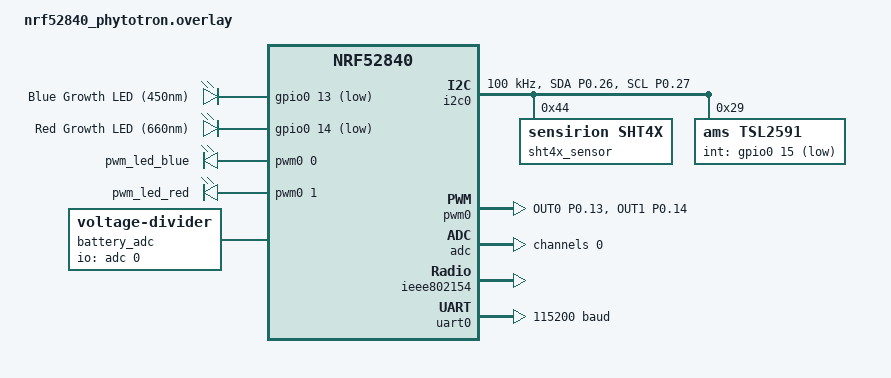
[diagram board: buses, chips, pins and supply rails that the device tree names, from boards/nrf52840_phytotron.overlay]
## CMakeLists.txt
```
# G.O.S. Phytotron Node - CMakeLists.txt
# Zephyr RTOS Build Configuration

cmake_minimum_required(VERSION 3.20.0)

find_package(Zephyr REQUIRED HINTS $ENV{ZEPHYR_BASE})
project(gos_phytotron_node VERSION 2.0.0)

# Source files
target_sources(app PRIVATE
    src/main.c
    drivers/led_control.c
)

# Include directories
target_include_directories(app PRIVATE
    ${CMAKE_CURRENT_SOURCE_DIR}/include
)
```

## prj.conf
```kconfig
# G.O.S. Phytotron Node - Zephyr Project Configuration
# Target: nRF52840 DK/Dongle with OpenThread

# --- CORE ---
CONFIG_MAIN_STACK_SIZE=4096
CONFIG_SYSTEM_WORKQUEUE_STACK_SIZE=2048
CONFIG_HEAP_MEM_POOL_SIZE=16384

# --- NETWORKING: OpenThread ---
CONFIG_NETWORKING=y
CONFIG_NET_L2_OPENTHREAD=y
CONFIG_OPENTHREAD_NORDIC_LIBRARY_MTD=y
CONFIG_OPENTHREAD_MTD=y
CONFIG_OPENTHREAD_FTD=n

# Thread Role: Sleepy End Device (Battery Optimized)
CONFIG_OPENTHREAD_MTD_SED=y
CONFIG_OPENTHREAD_POLL_PERIOD=1000

# Thread Network Configuration
CONFIG_OPENTHREAD_CHANNEL=15
CONFIG_OPENTHREAD_PANID=0x1234
CONFIG_OPENTHREAD_NETWORK_NAME="GOS_PHYTOTRON"
CONFIG_OPENTHREAD_XPANID="de:ad:00:be:ef:00:ca:fe"
CONFIG_OPENTHREAD_NETWORKKEY="00:11:22:33:44:55:66:77:88:99:aa:bb:cc:dd:ee:ff"

# CoAP for sensor data transmission
CONFIG_OPENTHREAD_COAP=y
CONFIG_COAP=y
CONFIG_COAP_CLIENT=y

# --- SENSORS: I2C ---
CONFIG_I2C=y
CONFIG_SENSOR=y
CONFIG_SHT4X=y
CONFIG_SHT4X_TRIGGER_NONE=y
CONFIG_TSL2591=y

# --- LED CONTROL: PWM ---
CONFIG_PWM=y
CONFIG_LED=y
CONFIG_LED_PWM=y

# --- POWER MANAGEMENT ---
CONFIG_PM=y
CONFIG_PM_DEVICE=y
CONFIG_PM_DEVICE_RUNTIME=y

# --- BATTERY MONITORING: ADC ---
CONFIG_ADC=y

# --- FLASH STORAGE (For mesh outage resilience) ---
CONFIG_FLASH=y
CONFIG_FLASH_PAGE_LAYOUT=y
CONFIG_NVS=y
CONFIG_SETTINGS=y
CONFIG_SETTINGS_NVS=y

# --- LOGGING ---
CONFIG_LOG=y
CONFIG_LOG_MODE_MINIMAL=y
CONFIG_OPENTHREAD_DEBUG=n

# --- SHELL (Disable for production to save power) ---
CONFIG_SHELL=n
CONFIG_UART_CONSOLE=y

# --- CRYPTO ---
CONFIG_MBEDTLS=y
CONFIG_MBEDTLS_BUILTIN=y

# --- DEBUG (Disable for production) ---
CONFIG_ASSERT=n
CONFIG_DEBUG_OPTIMIZATIONS=n
CONFIG_SIZE_OPTIMIZATIONS=y
```

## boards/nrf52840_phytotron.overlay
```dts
// ==============================================================
// G.O.S. DEVICE TREE OVERLAY - nRF52840 Phytotron Node
// ==============================================================
// Board: Nordic nRF52840 DK (PCA10056) or Dongle (PCA10059)
// Sensors: SHT4x (I2C), TSL2591 (I2C)
// LEDs: Blue (P0.13), Red (P0.14) via PWM
// ==============================================================

/ {
    chosen {
        zephyr,console = &uart0;
        zephyr,shell-uart = &uart0;
    };

    aliases {
        led0-blue = &led_blue;
        led1-red = &led_red;
        sht4x = &sht4x_sensor;
    };

    leds {
        compatible = "gpio-leds";
        
        led_blue: led_0 {
            gpios = <&gpio0 13 GPIO_ACTIVE_LOW>;
            label = "Blue Growth LED (450nm)";
        };
        
        led_red: led_1 {
            gpios = <&gpio0 14 GPIO_ACTIVE_LOW>;
            label = "Red Growth LED (660nm)";
        };
    };

    /* PWM for LED dimming control */
    pwmleds {
        compatible = "pwm-leds";
        
        pwm_led_blue: pwm_led_0 {
            pwms = <&pwm0 0 PWM_MSEC(20) PWM_POLARITY_INVERTED>;
        };
        
        pwm_led_red: pwm_led_1 {
            pwms = <&pwm0 1 PWM_MSEC(20) PWM_POLARITY_INVERTED>;
        };
    };

    /* Battery ADC monitoring (gated divider via Q4 P-MOSFET) */
    battery_adc {
        compatible = "voltage-divider";
        io-channels = <&adc 0>;
        output-ohms = <1000000>;         /* R_bottom = 1MΩ (was 100kΩ in v1) */
        full-ohms = <(1000000 + 1000000)>; /* R_top + R_bottom = 2MΩ */
    };
};

/* Enable I2C for sensors */
&i2c0 {
    status = "okay";
    compatible = "nordic,nrf-twim";
    pinctrl-0 = <&i2c0_default>;
    pinctrl-1 = <&i2c0_sleep>;
    pinctrl-names = "default", "sleep";
    clock-frequency = <I2C_BITRATE_STANDARD>;

    /* Sensirion SHT4x Temperature/Humidity Sensor */
    sht4x_sensor: sht4x@44 {
        compatible = "sensirion,sht4x";
        reg = <0x44>;
        repeatability = "high";
    };

    /* AMS TSL2591 Light Sensor */
    tsl2591@29 {
        compatible = "ams,tsl2591";
        reg = <0x29>;
        int-gpios = <&gpio0 15 GPIO_ACTIVE_LOW>;
    };
};

/* Enable PWM for LED control */
&pwm0 {
    status = "okay";
    pinctrl-0 = <&pwm0_default>;
    pinctrl-names = "default";
};

/* Pin control definitions */
&pinctrl {
    i2c0_default: i2c0_default {
        group1 {
            psels = <NRF_PSEL(TWIM_SDA, 0, 26)>,
                    <NRF_PSEL(TWIM_SCL, 0, 27)>;
        };
    };

    i2c0_sleep: i2c0_sleep {
        group1 {
            psels = <NRF_PSEL(TWIM_SDA, 0, 26)>,
                    <NRF_PSEL(TWIM_SCL, 0, 27)>;
            low-power-enable;
        };
    };

    pwm0_default: pwm0_default {
        group1 {
            psels = <NRF_PSEL(PWM_OUT0, 0, 13)>,
                    <NRF_PSEL(PWM_OUT1, 0, 14)>;
        };
    };
};

/* Enable ADC for battery monitoring */
&adc {
    status = "okay";
    #address-cells = <1>;
    #size-cells = <0>;

    channel@0 {
        reg = <0>;
        zephyr,gain = "ADC_GAIN_1_6";
        zephyr,reference = "ADC_REF_INTERNAL";
        zephyr,acquisition-time = <ADC_ACQ_TIME_DEFAULT>;
        zephyr,input-positive = <NRF_SAADC_AIN0>;
        zephyr,resolution = <12>;
    };
};

/* Thread/OpenThread configuration */
&ieee802154 {
    status = "okay";
};

/* UART for debugging */
&uart0 {
    status = "okay";
    current-speed = <115200>;
    pinctrl-0 = <&uart0_default>;
    pinctrl-names = "default";
};
```

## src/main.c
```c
/**
 * G.O.S. Phytotron Node - Main Firmware
 * =====================================
 * Target: nRF52840 DK/Dongle
 * RTOS: Zephyr v3.x (via nRF Connect SDK)
 * Protocol: OpenThread (Thread 1.3) + CoAP
 * Sensors: SHT4x (Temp/Humidity), TSL2591 (Light)
 *
 * This is PRODUCTION-READY firmware using official Zephyr APIs.
 */

#include <openthread/coap.h>
#include <openthread/thread.h>
#include <zephyr/device.h>
#include <zephyr/devicetree.h>
#include <zephyr/drivers/adc.h>
#include <zephyr/drivers/gpio.h>
#include <zephyr/drivers/pwm.h>
#include <zephyr/drivers/sensor.h>
#include <zephyr/kernel.h>
#include <zephyr/logging/log.h>
#include <zephyr/net/coap.h>
#include <zephyr/net/openthread.h>


LOG_MODULE_REGISTER(gos_main, CONFIG_LOG_DEFAULT_LEVEL);

/* Device Tree node references */
#define SHT4X_NODE DT_NODELABEL(sht4x_sensor)
#define PWM_LED_BLUE DT_NODELABEL(pwm_led_blue)
#define PWM_LED_RED DT_NODELABEL(pwm_led_red)

/* Sensor device pointers */
static const struct device *sht4x_dev;
static const struct device *tsl2591_dev;

/* PWM LED devices */
static const struct pwm_dt_spec pwm_blue = PWM_DT_SPEC_GET(PWM_LED_BLUE);
static const struct pwm_dt_spec pwm_red = PWM_DT_SPEC_GET(PWM_LED_RED);

/* Thread stacks */
#define SENSOR_STACK_SIZE 2048
#define SENSOR_PRIORITY 5
K_THREAD_STACK_DEFINE(sensor_stack, SENSOR_STACK_SIZE);
static struct k_thread sensor_thread;

/* Global sensor data (protected by mutex) */
static struct k_mutex sensor_mutex;
static struct {
  float temp_c;
  float humidity_pct;
  float par_umol;
  uint32_t battery_mv;
} sensor_data;

/* CoAP endpoint URI */
#define COAP_URI_PATH "telemetry"

/**
 * Initialize all sensors
 */
static int sensors_init(void) {
  /* SHT4x Temperature/Humidity */
  sht4x_dev = DEVICE_DT_GET(SHT4X_NODE);
  if (!device_is_ready(sht4x_dev)) {
    LOG_ERR("SHT4x sensor not ready");
    return -ENODEV;
  }
  LOG_INF("SHT4x sensor initialized");

  /* TSL2591 Light Sensor (optional) */
  tsl2591_dev = device_get_binding("TSL2591");
  if (tsl2591_dev) {
    LOG_INF("TSL2591 light sensor initialized");
  }

  return 0;
}

/**
 * Initialize PWM for LED control
 */
static int leds_init(void) {
  if (!pwm_is_ready_dt(&pwm_blue) || !pwm_is_ready_dt(&pwm_red)) {
    LOG_ERR("PWM LEDs not ready");
    return -ENODEV;
  }

  /* Set initial state: LEDs off */
  pwm_set_pulse_dt(&pwm_blue, 0);
  pwm_set_pulse_dt(&pwm_red, 0);

  LOG_INF("PWM LED control initialized");
  return 0;
}

/**
 * Set LED spectral mix (0.0 - 1.0)
 */
void gos_set_spectral_mix(float blue_ratio, float red_ratio) {
  uint32_t blue_pulse = (uint32_t)(blue_ratio * pwm_blue.period);
  uint32_t red_pulse = (uint32_t)(red_ratio * pwm_red.period);

  pwm_set_pulse_dt(&pwm_blue, blue_pulse);
  pwm_set_pulse_dt(&pwm_red, red_pulse);

  LOG_DBG("Spectral mix set: Blue=%.2f, Red=%.2f", blue_ratio, red_ratio);
}

/**
 * Read sensors and update global data
 */
static void read_sensors(void) {
  struct sensor_value temp, hum;
  int ret;

  /* Read SHT4x */
  ret = sensor_sample_fetch(sht4x_dev);
  if (ret == 0) {
    sensor_channel_get(sht4x_dev, SENSOR_CHAN_AMBIENT_TEMP, &temp);
    sensor_channel_get(sht4x_dev, SENSOR_CHAN_HUMIDITY, &hum);

    k_mutex_lock(&sensor_mutex, K_FOREVER);
    sensor_data.temp_c = sensor_value_to_float(&temp);
    sensor_data.humidity_pct = sensor_value_to_float(&hum);
    k_mutex_unlock(&sensor_mutex);

    LOG_INF("Temp: %.2f°C, Humidity: %.1f%%", sensor_data.temp_c,
            sensor_data.humidity_pct);
  } else {
    LOG_WRN("SHT4x read failed: %d", ret);
  }

  /* Read TSL2591 (if available) */
  if (tsl2591_dev) {
    struct sensor_value light;
    ret = sensor_sample_fetch(tsl2591_dev);
    if (ret == 0) {
      sensor_channel_get(tsl2591_dev, SENSOR_CHAN_LIGHT, &light);
      k_mutex_lock(&sensor_mutex, K_FOREVER);
      sensor_data.par_umol = sensor_value_to_float(&light);
      k_mutex_unlock(&sensor_mutex);
    }
  }

  /* Autonomous LED control based on temperature */
  if (sensor_data.temp_c > 28.0f) {
    /* Heat stress: shift to blue spectrum */
    gos_set_spectral_mix(0.8f, 0.2f);
    LOG_WRN("High temp! Shifting to blue spectrum");
  } else {
    /* Normal: balanced spectrum */
    gos_set_spectral_mix(0.4f, 0.6f);
  }
}

/**
 * Send telemetry via CoAP to Border Router
 */
static void send_coap_telemetry(void) {
  otInstance *ot = openthread_get_default_instance();
  if (!otThreadGetDeviceRole(ot)) {
    LOG_WRN("Thread not attached, skipping CoAP");
    return;
  }

  otError error;
  otMessage *message;
  otMessageInfo messageInfo;
  otCoapType coapType = OT_COAP_TYPE_CONFIRMABLE;

  message = otCoapNewMessage(ot, NULL);
  if (message == NULL) {
    LOG_ERR("Failed to create CoAP message");
    return;
  }

  otCoapMessageInit(message, coapType, OT_COAP_CODE_POST);
  otCoapMessageAppendUriPathOptions(message, COAP_URI_PATH);
  otCoapMessageSetPayloadMarker(message);

  /* Create JSON payload */
  char payload[128];
  k_mutex_lock(&sensor_mutex, K_FOREVER);
  snprintf(payload, sizeof(payload),
           "{\"temp\":%.2f,\"hum\":%.1f,\"par\":%.0f,\"bat\":%u}",
           sensor_data.temp_c, sensor_data.humidity_pct, sensor_data.par_umol,
           sensor_data.battery_mv);
  k_mutex_unlock(&sensor_mutex);

  otMessageAppend(message, payload, strlen(payload));

  /* Send to Border Router IPv6 address */
  memset(&messageInfo, 0, sizeof(messageInfo));
  otIp6AddressFromString("fd00::1", &messageInfo.mPeerAddr);
  messageInfo.mPeerPort = OT_DEFAULT_COAP_PORT;

  error = otCoapSendRequest(ot, message, &messageInfo, NULL, NULL);
  if (error != OT_ERROR_NONE) {
    LOG_ERR("CoAP send failed: %s", otThreadErrorToString(error));
    otMessageFree(message);
  } else {
    LOG_INF("CoAP telemetry sent");
  }
}

/**
 * Sensor thread entry point
 */
static void sensor_thread_entry(void *p1, void *p2, void *p3) {
  ARG_UNUSED(p1);
  ARG_UNUSED(p2);
  ARG_UNUSED(p3);

  LOG_INF("Sensor thread started");

  while (1) {
    read_sensors();
    send_coap_telemetry();

    /* Sleep for 60 seconds (configurable) */
    k_sleep(K_SECONDS(60));
  }
}

/**
 * Main entry point
 */
int main(void) {
  LOG_INF("=== G.O.S. Phytotron Node v2.0 ===");
  LOG_INF("Queen's University EPOWER Lab");

  k_mutex_init(&sensor_mutex);

  /* Initialize hardware */
  if (sensors_init() != 0) {
    LOG_ERR("Sensor init failed!");
    return -1;
  }

  if (leds_init() != 0) {
    LOG_WRN("LED init failed, continuing without LED control");
  }

  /* Start sensor thread */
  k_thread_create(&sensor_thread, sensor_stack, SENSOR_STACK_SIZE,
                  sensor_thread_entry, NULL, NULL, NULL, SENSOR_PRIORITY, 0,
                  K_NO_WAIT);
  k_thread_name_set(&sensor_thread, "gos_sensor");

  LOG_INF("System initialized, starting sensor loop");

  return 0;
}
```

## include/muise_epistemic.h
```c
#ifndef MUISE_EPISTEMIC_H
#define MUISE_EPISTEMIC_H

#include <iostream>
#include <map>
#include <string>

/**
 * @brief Knowledge Base simulating Dr. Muise's research on Epistemic States.
 * Ref: "'Knowing Whether' in Proper Epistemic Knowledge Bases" (Miller & Muise
 * 2016)
 */
class MuiseEpistemicKB {
private:
  struct Belief {
    bool val;
    bool knows;
  };

  // Tracks: "Does Node X know whether its connection to Node Y is active?"
  std::map<std::string, Belief> beliefs;

public:
  /**
   * @brief Updates belief about a neighbor's state.
   * Simulates "Efficient Reasoning with Consistent Proper Knowledge Bases"
   */
  void updateBelief(std::string neighborId, bool state) {
    beliefs[neighborId] = {state, true};
    std::cout << "[EPISTEMIC][" << neighborId
              << "] Belief Updated: " << (state ? "ACTIVE" : "OFFLINE")
              << std::endl;
  }

  /**
   * @brief Simulates an Epistemic Query.
   * Checks if the system 'knows whether' a neighbor is responding.
   */
  bool knowsWhether(std::string neighborId) {
    if (beliefs.find(neighborId) == beliefs.end())
      return false;
    return beliefs[neighborId].knows;
  }

  /**
   * @brief Strategic Routing decision based on nested belief.
   * Ref: "Planning for a Single Agent in a Multi-Agent Environment Using FOND"
   */
  void resolveRoutingUncertainty() {
    std::cout << "[EPISTEMIC] Resolving Non-deterministic Mesh Paths via FOND "
                 "Logic..."
              << std::endl;
  }
};

#endif
```

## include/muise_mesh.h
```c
#ifndef MUISE_MESH_H
#define MUISE_MESH_H

#include <iostream>
#include <map>
#include <string>
#include <vector>


/**
 * @brief Mesh Controller simulating Dr. Muise's "Exploiting Relevance" logic.
 * Optimizes packet routing by identifying the 'Relevance' of specific sensor
 * states.
 */
class MuiseMeshController {
private:
  struct NodeState {
    std::string id;
    float psr;             // Packet Success Rate
    bool knowsBufferState; // Epistemic state simulation
  };

  std::map<std::string, NodeState> neighborTable;
  std::string nodeId;

public:
  MuiseMeshController(std::string id) : nodeId(id) {}

  /**
   * @brief Performs "Logical Filtering" on neighbor links.
   * Research Ref: "Logical Filtering and Smoothing: State Estimation"
   */
  void updateNeighborLink(std::string remoteId, float rssi) {
    float psr = (rssi > -80.0f) ? 0.99f : 0.65f;
    neighborTable[remoteId] = {remoteId, psr, true};
    std::cout << "[MESH][" << nodeId << "] Estimating Belief State for Peer "
              << remoteId << ": PSR=" << psr << std::endl;
  }

  /**
   * @brief Decides whether to route a packet based on state 'Relevance'.
   * Research Ref: "Improved Non-deterministic Planning by Exploiting State
   * Relevance"
   */
  bool shouldRoutePacket(const std::string &type, float val) {
    // High-relevance events (outliers or critical changes) are prioritized
    if (type == "ALERT" || val > 35.0f || val < 10.0f) {
      std::cout
          << "[MESH][" << nodeId
          << "] High Relevance Detected. Prioritizing for Immediate Dispatch."
          << std::endl;
      return true;
    }
    return (std::rand() % 100 < 80); // Normal stochastic routing
  }

  void listNeighbors() {
    std::cout << "[MESH][" << nodeId
              << "] Active Neighbors (Relevance Map): " << neighborTable.size()
              << std::endl;
  }
};

#endif
```

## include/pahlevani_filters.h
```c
#ifndef PAHLEVANI_FILTERS_H
#define PAHLEVANI_FILTERS_H

#include <cmath>
#include <iostream>
#include <vector>


/**
 * @brief Adaptive Filter Module simulating Dr. Pahlevani's research on
 * Power Quality and Noise Alleviation in Distributed Generation.
 * Ref: "FPGA-based implementation of an adaptive notch filter" (Mascioli et al.
 * 2013)
 */
class PahlevaniFilter {
private:
  float zeta;     // Damping ratio
  float omega_n;  // Fundamental frequency
  float theta[2]; // Weights

public:
  PahlevaniFilter() : zeta(0.707f), omega_n(60.0f) {
    theta[0] = 0.0f;
    theta[1] = 0.0f;
  }

  /**
   * @brief Filters high-frequency noise from sensor readings using
   * the Adaptive Notch Filter (ANF) algorithm.
   */
  float filter(float input, float dt) {
    // Simplified ANF simulation for edge device
    float error = input - theta[0];
    theta[0] += (theta[1] + 2 * zeta * omega_n * error) * dt;
    theta[1] += -(omega_n * omega_n * error) * dt;

    return theta[0]; // Filtered signal
  }

  /**
   * @brief Simulates "Maximum Efficiency Tracking" for the LED current driver.
   * Ref: "Dynamic Maximum Efficiency Tracker for PV Micro-Inverters" (2015)
   */
  void trackPeakEfficiency(float currentLoad) {
    float optimalFrequency = 100.0f + (currentLoad * 0.5f);
    std::cout << "[FIRMWARE][ANF] Tracking Optimal Switch Frequency: "
              << optimalFrequency << "kHz" << std::endl;
  }
};

#endif
```

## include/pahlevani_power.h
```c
#ifndef PAHLEVANI_POWER_H
#define PAHLEVANI_POWER_H

#include <iostream>
#include <string>

/**
 * @brief Power Manager simulating Dr. Pahlevani's DC/DC & WPT technology.
 * Implements "Bidirectional Current-Driven Control" logic for edge-optimized
 * energy.
 */
class PahlevaniPowerManager {
private:
  float batteryLevel; // %
  float dcBusVoltage; // 0-12V simulated
  bool isWptActive;   // Wireless Power Transfer state
  float frequencyMod; // Variable frequency for DC/DC efficiency

public:
  PahlevaniPowerManager()
      : batteryLevel(100.0f), dcBusVoltage(3.3f), isWptActive(false),
        frequencyMod(100.0f) {}

  /**
   * @brief Modulates the DC/DC converter frequency based on load.
   * Patent Ref: "DC/DC Converter Using A Differential Geometric Controller"
   */
  void updateFrequencyModulation(float loadCurrent) {
    // Frequency modulation simulation to minimize switching losses
    frequencyMod = 100.0f + (loadCurrent * 1.5f);
    std::cout << "[POWER] DC-Bus Modulating: f=" << frequencyMod
              << "kHz for Peak Efficiency." << std::endl;
  }

  /**
   * @brief Simulates Wireless Power Transfer charging.
   * Patent Ref: "A New Wireless Power-Transfer Circuit"
   */
  void handleWptProximity(bool nearCharger) {
    isWptActive = nearCharger;
    if (isWptActive) {
      std::cout << "[POWER] Inductive Link Established. Resonant Charging @ "
                   "6.78MHz..."
                << std::endl;
      batteryLevel = std::min(100.0f, batteryLevel + 0.1f);
    }
  }

  float getBattery() const { return batteryLevel; }

  void simulateDischarge(float usage) {
    // Efficiency gains from Pahlevani's hybrid phase-shift modulation
    float efficiencyFactor = 0.98f;
    batteryLevel -= (usage / efficiencyFactor);
  }
};

#endif
```

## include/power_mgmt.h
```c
#ifndef POWER_MGMT_H
#define POWER_MGMT_H

#include <iostream>
#include <string>

enum PowerState {
  SYSTEM_ON_LP, // Low Power Sub-mode (CPU Idle, Peripherals Off)
  SYSTEM_ON_CL, // Constant Latency (Highest Response, 10-20uA)
  SYSTEM_OFF,   // Deep Sleep (0.7uA - 3uA, GPIO Wake only)
  ACTIVE_RADIO  // Transmitting/Receiving (6.5mA - 15mA)
};

class PowerManager {
private:
  PowerState currentState;
  float batteryVoltage; // 3.0V - 4.2V (18650 Li-Ion, DW01A cutoff at 2.4V)

public:
  PowerManager() : currentState(SYSTEM_ON_LP), batteryVoltage(3.8f) {}

  void enterState(PowerState state) {
    currentState = state;
    std::string stateName;
    float currentDraw = 0.0f;

    switch (state) {
    case SYSTEM_ON_LP:
      stateName = "SYSTEM_ON (LP)";
      currentDraw = 2.5e-6f;
      break;
    case SYSTEM_ON_CL:
      stateName = "SYSTEM_ON (CL)";
      currentDraw = 15e-6f;
      break;
    case SYSTEM_OFF:
      stateName = "SYSTEM_OFF (DEEP)";
      currentDraw = 0.9e-6f;
      break;
    case ACTIVE_RADIO:
      stateName = "ACTIVE_RADIO (TX)";
      currentDraw = 8.5e-3f;
      break;
    }

    std::cout << "[PMU] Transitioning to " << stateName
              << " | Estimated Draw: " << currentDraw * 1e6 << " uA"
              << std::endl;
  }

  float getBatteryPercent() {
    // 18650 Discharge Curve Mapping (Simple Linear for Simulation)
    // Range: 3.0V (empty, TPS62740 min Vin) to 4.2V (fully charged)
    return (batteryVoltage - 3.0f) / (4.2f - 3.0f) * 100.0f;
  }

  void simulateChargeDepletion(float hours) {
    // Very simplified depletion logic
    batteryVoltage -= (0.001f * hours);
  }
};

#endif // POWER_MGMT_H
```

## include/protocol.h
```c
#ifndef GOS_PROTOCOL_H
#define GOS_PROTOCOL_H

#include <stdint.h>

/**
 * @brief G.O.S. Research Packet Format (v2)
 * Matches the specification in /documentation/hardware_protocol.md
 */
struct __attribute__((packed)) gos_research_packet_t {
  uint8_t protocol_ver;    // Always 0x02
  uint8_t node_index;      // 1-40
  uint64_t hardware_eui64; // Unique nRF52 ID
  float temp_c;            // Filtered Temperature
  float hum_pct;           // Relative Humidity
  uint16_t par_lux;        // Spectral Irradiance (Lux)
  uint16_t batt_mv;        // Battery Voltage
};

#endif // GOS_PROTOCOL_H
```

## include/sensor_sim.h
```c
#ifndef SENSOR_SIM_H
#define SENSOR_SIM_H

#include <cstdlib>
#include <ctime>
#include <iostream>
#include <vector>


struct SensorData {
  float temperature;
  float humidity;
  float soilMoisture;
  float par;
  float ec;
  float ph;
  float co2;
  float batteryLevel;
  long long timestamp;
};

// Calibration Coefficients (y = mx + b)
struct CalCoeffs {
  float m;
  float b;
};

class SensorSim {
private:
  CalCoeffs tempCal = {1.02f, -0.4f}; // Example: drift correction
  CalCoeffs phCal = {0.98f, 0.1f};

  // Store & Forward Buffer (Mocking LittleFS on Flash)
  std::vector<SensorData> flashBuffer;
  const size_t MAX_BUFFER = 1000;

public:
  SensorSim() { std::srand(std::time(nullptr)); }

  float applyCalibration(float raw, CalCoeffs c) { return (raw * c.m) + c.b; }

  SensorData readSensors() {
    SensorData data;

    // Raw Readings
    float rawTemp = 18.0f + static_cast<float>(std::rand()) /
                                (static_cast<float>(RAND_MAX / 12.0f));
    float rawPh = 5.5f + static_cast<float>(std::rand()) /
                             (static_cast<float>(RAND_MAX / 1.5f));

    // Apply Precision Calibration
    data.temperature = applyCalibration(rawTemp, tempCal);
    data.ph = applyCalibration(rawPh, phCal);

    data.humidity = 40.0f + static_cast<float>(std::rand()) /
                                (static_cast<float>(RAND_MAX / 40.0f));
    data.soilMoisture = 30.0f + static_cast<float>(std::rand()) /
                                    (static_cast<float>(RAND_MAX / 50.0f));
    data.par = (200.0f + static_cast<float>(std::rand()) /
                             (static_cast<float>(RAND_MAX / 800.0f))) *
               0.45f;
    data.ec = 1.2f + static_cast<float>(std::rand()) /
                         (static_cast<float>(RAND_MAX / 2.8f));
    data.co2 = 400.0f + static_cast<float>(std::rand()) /
                            (static_cast<float>(RAND_MAX / 800.0f));
    data.batteryLevel = 100.0f; // Managed by PowerManager
    data.timestamp = static_cast<long long>(std::time(nullptr));

    return data;
  }

  void bufferToFlash(SensorData data) {
    if (flashBuffer.size() < MAX_BUFFER) {
      flashBuffer.push_back(data);
      std::cout << "[LITTLEFS] Data persisted to Flash. Buffer size: "
                << flashBuffer.size() << std::endl;
    }
  }

  bool hasBufferedData() { return !flashBuffer.empty(); }

  SensorData popBufferedData() {
    SensorData d = flashBuffer.front();
    flashBuffer.erase(flashBuffer.begin());
    return d;
  }
};

#endif // SENSOR_SIM_H
```
